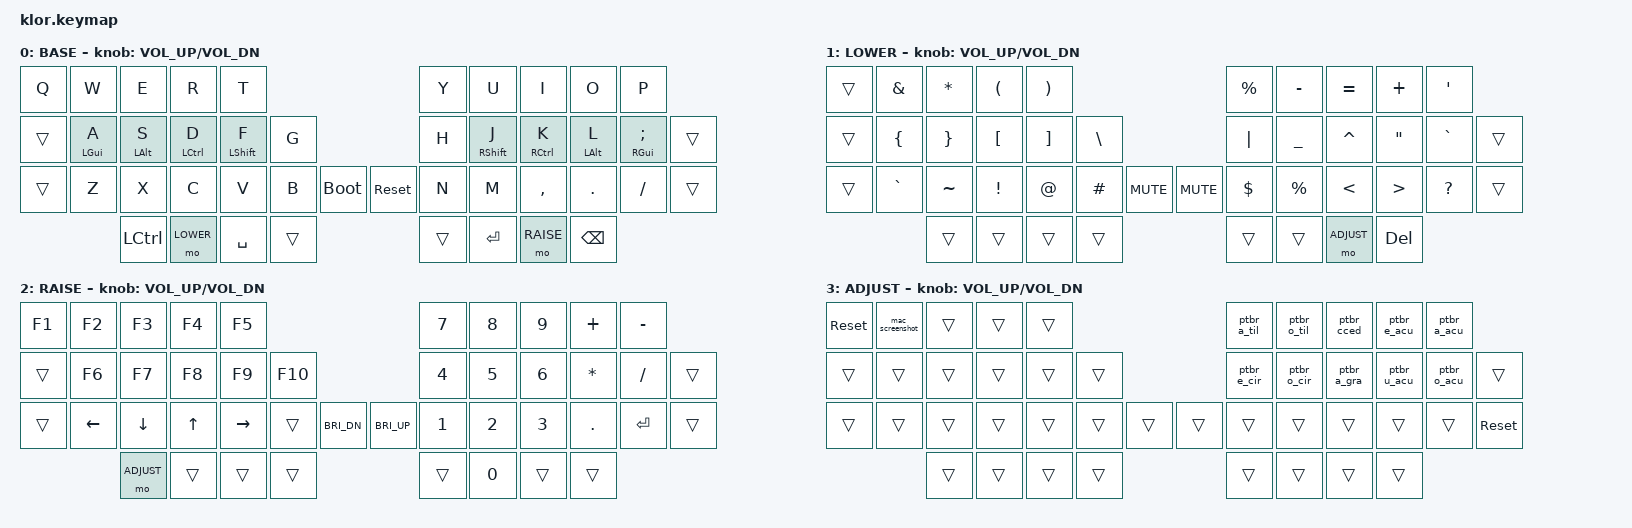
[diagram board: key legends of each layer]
// ██╗  ██╗██╗      ██████╗ ██████╗
// ██║ ██╔╝██║     ██╔═══██╗██╔══██╗
// █████╔╝ ██║     ██║   ██║██████╔╝
// ██╔═██╗ ██║     ██║   ██║██╔══██╗
// ██║  ██╗███████╗╚██████╔╝██║  ██║
// ╚═╝  ╚═╝╚══════╝ ╚═════╝ ╚═╝  ╚═╝
//
// ZMK Keymap — KLOR Saegewerk
// Layout: QWERTY · Mac US · Dev
//
// CAMADAS:
//   BASE   (0) — QWERTY + Homerow Mods (GACS)
//   LOWER  (1) — Símbolos de programação
//   RAISE  (2) — F-Keys + Numpad + Navegação
//   ADJUST (3) — PT-BR (macros) + sys_reset
//
// COMBOS:
//   A + Z        → TAB       (coluna do mindinho esquerdo)
//   LOWER + Q    → ESC       (segura LOWER, toca Q)
//   J + K        → ENTER     (mão direita rápida)
//   K + L        → :         (dois pontos)
//
// BOOTLOADER (reflash sem TRRS):
//   Click do encoder esquerdo  → bootloader metade esquerda
//   Click do encoder direito   → bootloader metade direita
//   Cada metade funciona independentemente!

#include <behaviors.dtsi>
#include <dt-bindings/zmk/keys.h>
#include <dt-bindings/zmk/outputs.h>

#define BASE   0
#define LOWER  1
#define RAISE  2
#define ADJUST 3

/ {

    // ═══════════════════════════════════════════════════════════════
    // MACROS — PT-BR via dead keys macOS US
    // ═══════════════════════════════════════════════════════════════
    macros {

        // ã — Option+N → A
        ptbr_a_til: ptbr_a_til {
            compatible = "zmk,behavior-macro";
            label = "PTBR_A_TIL";
            #binding-cells = <0>;
            bindings = <&macro_press &kp LALT>,
                       <&macro_tap &kp N>,
                       <&macro_release &kp LALT>,
                       <&macro_tap &kp A>;
        };

        // õ — Option+N → O
        ptbr_o_til: ptbr_o_til {
            compatible = "zmk,behavior-macro";
            label = "PTBR_O_TIL";
            #binding-cells = <0>;
            bindings = <&macro_press &kp LALT>,
                       <&macro_tap &kp N>,
                       <&macro_release &kp LALT>,
                       <&macro_tap &kp O>;
        };

        // ç — Option+C
        ptbr_cced: ptbr_cced {
            compatible = "zmk,behavior-macro";
            label = "PTBR_CCED";
            #binding-cells = <0>;
            bindings = <&macro_press &kp LALT>,
                       <&macro_tap &kp C>,
                       <&macro_release &kp LALT>;
        };

        // é — Option+E → E
        ptbr_e_acu: ptbr_e_acu {
            compatible = "zmk,behavior-macro";
            label = "PTBR_E_ACU";
            #binding-cells = <0>;
            bindings = <&macro_press &kp LALT>,
                       <&macro_tap &kp E>,
                       <&macro_release &kp LALT>,
                       <&macro_tap &kp E>;
        };

        // á — Option+E → A
        ptbr_a_acu: ptbr_a_acu {
            compatible = "zmk,behavior-macro";
            label = "PTBR_A_ACU";
            #binding-cells = <0>;
            bindings = <&macro_press &kp LALT>,
                       <&macro_tap &kp E>,
                       <&macro_release &kp LALT>,
                       <&macro_tap &kp A>;
        };

        // ê — Option+I → E
        ptbr_e_cir: ptbr_e_cir {
            compatible = "zmk,behavior-macro";
            label = "PTBR_E_CIR";
            #binding-cells = <0>;
            bindings = <&macro_press &kp LALT>,
                       <&macro_tap &kp I>,
                       <&macro_release &kp LALT>,
                       <&macro_tap &kp E>;
        };

        // ô — Option+I → O
        ptbr_o_cir: ptbr_o_cir {
            compatible = "zmk,behavior-macro";
            label = "PTBR_O_CIR";
            #binding-cells = <0>;
            bindings = <&macro_press &kp LALT>,
                       <&macro_tap &kp I>,
                       <&macro_release &kp LALT>,
                       <&macro_tap &kp O>;
        };

        // à — Option+` → A
        ptbr_a_gra: ptbr_a_gra {
            compatible = "zmk,behavior-macro";
            label = "PTBR_A_GRA";
            #binding-cells = <0>;
            bindings = <&macro_press &kp LALT>,
                       <&macro_tap &kp GRAVE>,
                       <&macro_release &kp LALT>,
                       <&macro_tap &kp A>;
        };

        // ú — Option+E → U
        ptbr_u_acu: ptbr_u_acu {
            compatible = "zmk,behavior-macro";
            label = "PTBR_U_ACU";
            #binding-cells = <0>;
            bindings = <&macro_press &kp LALT>,
                       <&macro_tap &kp E>,
                       <&macro_release &kp LALT>,
                       <&macro_tap &kp U>;
        };

        // ó — Option+E → O
        ptbr_o_acu: ptbr_o_acu {
            compatible = "zmk,behavior-macro";
            label = "PTBR_O_ACU";
            #binding-cells = <0>;
            bindings = <&macro_press &kp LALT>,
                       <&macro_tap &kp E>,
                       <&macro_release &kp LALT>,
                       <&macro_tap &kp O>;
        };

        // Screenshot Mac — CMD + SHIFT + 4
        mac_screenshot: mac_screenshot {
            compatible = "zmk,behavior-macro";
            label = "MAC_SCREENSHOT";
            #binding-cells = <0>;
            bindings = <&macro_press &kp LGUI &kp LSHFT>,
                       <&macro_tap &kp N4>,
                       <&macro_release &kp LGUI &kp LSHFT>;
        };

    };

    // ═══════════════════════════════════════════════════════════════
    // BEHAVIORS
    // ═══════════════════════════════════════════════════════════════
    behaviors {

        hm: homerow_mods {
            compatible = "zmk,behavior-hold-tap";
            label = "HOMEROW_MODS";
            #binding-cells = <2>;
            tapping-term-ms = <200>;
            quick_tap_ms = <175>;
            require-prior-idle-ms = <125>;
            flavor = "tap-preferred";
            bindings = <&kp>, <&kp>;
        };

        // Layer-tap com tapping-term maior — thumb keys são mais lentas
        lt: layer_tap {
            compatible = "zmk,behavior-hold-tap";
            label = "LAYER_TAP";
            #binding-cells = <2>;
            tapping-term-ms = <200>;
            quick_tap_ms = <175>;
            flavor = "tap-preferred";
            bindings = <&mo>, <&kp>;
        };

    };

    // ═══════════════════════════════════════════════════════════════
    // COMBOS
    // ═══════════════════════════════════════════════════════════════
    // Mapa de posições (linha × coluna, contando os &trans das pontas):
    //
    //   Linha 1 (5 teclas, sem pinky):  0  1  2  3  4  |  14 15 16 17 18
    //   Linha 2 (6 teclas com pinky):   5  6  7  8  9 10  | 19 20 21 22 23 24
    //   Linha 3 (6 teclas com pinky):  25 26 27 28 29 30  | 32 33 34 35 36 37
    //   Thumbs (4 cada lado):          38 39 40 41        | 42 43 44 45
    //
    //   Notáveis:
    //     Q=0  W=1  E=2  R=3  T=4
    //     A=6  S=7  D=8  F=9  G=10
    //     Z=26 X=27 C=28 V=29 B=30
    //     J=20 K=21 L=22
    //     LOWER thumb = 39
    // ───────────────────────────────────────────────────────────────
    combos {
        compatible = "zmk,combos";

        // A + Z = TAB (coluna do mindinho, posições 6 e 26)
        combo_tab {
            timeout-ms = <50>;
            key-positions = <11 23>;
            bindings = <&kp TAB>;
        };

        // LOWER (thumb 39) + Q (pos 0) = ESC
        // Segura LOWER e toca Q — natural, sem conflito com LoL
        combo_esc {
            timeout-ms = <50>;
            key-positions = <37 0>;
            bindings = <&kp ESC>;
            layers = <BASE>;
        };

        // J + K = ENTER (posições 20 e 21)
        combo_enter {
            timeout-ms = <50>;
            key-positions = <17 18>;
            bindings = <&kp RET>;
        };

        // K + L = : dois pontos (posições 21 e 22)
        combo_colon {
            timeout-ms = <50>;
            key-positions = <18 19>;
            bindings = <&kp COLON>;
        };

    };

    // ═══════════════════════════════════════════════════════════════
    keymap {
        compatible = "zmk,keymap";
// ═══════════════════════════════════════════════════════════════════


// ───────────────────────────────────────────────────────────────────
// CAMADA 0 — BASE (QWERTY)
// ───────────────────────────────────────────────────────────────────
// Homerow Mods:
//   ESQUERDA: A=CMD  S=OPT  D=CTRL  F=SHIFT
//   DIREITA:  J=SHIFT  K=CTRL  L=OPT  ;=CMD
//
// Encoder click = &bootloader (cada metade reseta ela mesma, sem TRRS!)
//
// Thumb: [CTRL] [LOWER] [SPACE] [▽] || [▽] [ENTER] [RAISE] [BSPC]
//
/*
             ┌─────────┬─────────┬─────────┬─────────┬─────────┐                    ┌─────────┬─────────┬─────────┬─────────┬─────────┐
             │    Q    │    W    │    E    │    R    │    T    │                    │    Y    │    U    │    I    │    O    │    P    │
   ┌─────────┼─────────┼─────────┼─────────┼─────────┼─────────┤                    ├─────────┼─────────┼─────────┼─────────┼─────────┼─────────┐
   │    ▽    │ CMD/A   │ OPT/S   │ CTL/D   │ SFT/F   │    G    │                    │    H    │ SFT/J   │ CTL/K   │ OPT/L   │ CMD/;   │    ▽    │
   ├─────────┼─────────┼─────────┼─────────┼─────────┼─────────┤╭────────╮╭────────╮├─────────┼─────────┼─────────┼─────────┼─────────┼─────────┤
   │    ▽    │    Z    │    X    │    C    │    V    │    B    ││ BOOT!! ││ BOOT!! ││    N    │    M    │    ,    │    .    │    /    │    ▽    │
   └─────────┴─────────┴─────────┼─────────┼─────────┼─────────┼╰────────╯╰────────╯┼─────────┼─────────┼─────────┼─────────┴─────────┴─────────┘
                                 │  CTRL   │  LOWER  │  SPACE  │    ▽    ││    ▽    │  ENTER  │  RAISE  │  BSPC   │
                                 └─────────┴─────────┴─────────┴─────────┘└─────────┴─────────┴─────────┴─────────┘
*/
        BASE {
            label = "BASE";
            bindings = <
   &kp Q       &kp W       &kp E       &kp R       &kp T                                            &kp Y       &kp U       &kp I       &kp O       &kp P
   &trans      &hm LGUI A  &hm LALT S  &hm LCTRL D &hm LSHFT F &kp G                                &kp H       &hm RSHFT J &hm RCTRL K &hm LALT L  &hm RGUI SEMI &trans
   &trans      &kp Z       &kp X       &kp C       &kp V       &kp B       &bootloader  &sys_reset   &kp N       &kp M       &kp COMMA   &kp DOT     &kp FSLH      &trans
                           &kp LCTRL   &mo LOWER   &kp SPACE   &trans                               &trans      &kp RET     &mo RAISE   &kp BSPC
            >;
            sensor-bindings = <&inc_dec_kp C_VOL_UP C_VOL_DN>;
        };


// ───────────────────────────────────────────────────────────────────
// CAMADA 1 — LOWER (Símbolos de programação)
// ───────────────────────────────────────────────────────────────────
// ESQUERDO: ^ & * ( ) / { } [ ] \ / ` ~ ! @ #
// DIREITO:  % - = + ' | _ ; " < > ?
//
/*
             ┌─────────┬─────────┬─────────┬─────────┬─────────┐                    ┌─────────┬─────────┬─────────┬─────────┬─────────┐
             │    ^    │    &    │    *    │    (    │    )    │                    │    %    │    -    │    =    │    +    │    '    │
   ┌─────────┼─────────┼─────────┼─────────┼─────────┼─────────┤                    ├─────────┼─────────┼─────────┼─────────┼─────────┼─────────┐
   │    ▽    │    {    │    }    │    [    │    ]    │    \    │                    │    |    │    _    │    ;    │    "    │    `    │    ▽    │
   ├─────────┼─────────┼─────────┼─────────┼─────────┼─────────┤╭────────╮╭────────╮├─────────┼─────────┼─────────┼─────────┼─────────┼─────────┤
   │    ▽    │    `    │    ~    │    !    │    @    │    #    ││  MUTE  ││  MUTE  ││    $    │    %    │    <    │    >    │    ?    │    ▽    │
   └─────────┴─────────┴─────────┼─────────┼─────────┼─────────┼╰────────╯╰────────╯┼─────────┼─────────┼─────────┼─────────┴─────────┴─────────┘
                                 │    ▽    │(LOWER)  │    ▽    │    ▽    ││    ▽    │    ▽    │  ADJST  │  DEL    │
                                 └─────────┴─────────┴─────────┴─────────┘└─────────┴─────────┴─────────┴─────────┘
*/
        LOWER {
            label = "LOWER";
            bindings = <
   &trans      &kp AMPS    &kp STAR    &kp LPAR    &kp RPAR                                     &kp PRCNT   &kp MINUS   &kp EQUAL   &kp PLUS    &kp SQT
   &trans      &kp LBRC    &kp RBRC    &kp LBKT    &kp RBKT    &kp BSLH                         &kp PIPE    &kp UNDER   &kp CARET   &kp DQT     &kp GRAVE   &trans
   &trans      &kp GRAVE   &kp TILDE   &kp EXCL    &kp AT      &kp HASH    &kp C_MUTE  &kp C_MUTE  &kp DLLR    &kp PRCNT   &kp LT      &kp GT      &kp QMARK   &trans
                           &trans      &trans      &trans      &trans                           &trans      &trans      &mo ADJUST  &kp DEL
            >;
            sensor-bindings = <&inc_dec_kp C_VOL_UP C_VOL_DN>;
        };


// ───────────────────────────────────────────────────────────────────
// CAMADA 2 — RAISE (F-Keys + Numpad + Navegação)
// ───────────────────────────────────────────────────────────────────
// ESQUERDO:
//   Linha 1: F1  F2  F3  F4  F5
//   Linha 2: F6  F7  F8  F9  F10
//   Linha 3: ←   ↓   ↑   →   ▽
//
// DIREITO — Numpad sem duplicatas:
//   Linha 1:  7   8   9   +   −
//   Linha 2:  4   5   6   ×   ÷   ▽
//   Linha 3:  1   2   3   .  ENT  ▽
//   Thumbs:   ▽   0  (RAISE) ▽
//
/*
             ┌─────────┬─────────┬─────────┬─────────┬─────────┐                    ┌─────────┬─────────┬─────────┬─────────┬─────────┐
             │   F1    │   F2    │   F3    │   F4    │   F5    │                    │    7    │    8    │    9    │    +    │    -    │
   ┌─────────┼─────────┼─────────┼─────────┼─────────┼─────────┤                    ├─────────┼─────────┼─────────┼─────────┼─────────┼─────────┐
   │    ▽    │   F6    │   F7    │   F8    │   F9    │   F10   │                    │    4    │    5    │    6    │    ×    │    ÷    │    ▽    │
   ├─────────┼─────────┼─────────┼─────────┼─────────┼─────────┤╭────────╮╭────────╮├─────────┼─────────┼─────────┼─────────┼─────────┼─────────┤
   │    ▽    │    ←    │    ↓    │    ↑    │    →    │    ▽    ││  SCR-  ││  SCR+  ││    1    │    2    │    3    │    .    │  KPENT  │    ▽    │
   └─────────┴─────────┴─────────┼─────────┼─────────┼─────────┼╰────────╯╰────────╯┼─────────┼─────────┼─────────┼─────────┴─────────┴─────────┘
                                 │  ADJST  │    ▽    │    ▽    │    ▽    ││    ▽    │    0    │(RAISE)  │    ▽    │
                                 └─────────┴─────────┴─────────┴─────────┘└─────────┴─────────┴─────────┴─────────┘
*/
        RAISE {
            label = "RAISE";
            bindings = <
   &kp F1      &kp F2      &kp F3      &kp F4      &kp F5                                           &kp N7   &kp N8   &kp N9   &kp PLUS     &kp MINUS
   &trans      &kp F6      &kp F7      &kp F8      &kp F9      &kp F10                              &kp N4   &kp N5   &kp N6   &kp STAR &kp FSLH   &trans
   &trans      &kp LEFT    &kp DOWN    &kp UP      &kp RIGHT   &trans      &kp C_BRI_DN &kp C_BRI_UP &kp N1   &kp N2   &kp N3   &kp DOT      &kp RET    &trans
                           &mo ADJUST  &trans      &trans      &trans                               &trans      &kp N0   &trans      &trans
            >;
            sensor-bindings = <&inc_dec_kp C_VOL_UP C_VOL_DN>;
        };


// ───────────────────────────────────────────────────────────────────
// CAMADA 3 — ADJUST (PT-BR + sys_reset)
// ───────────────────────────────────────────────────────────────────
// Acesso: segura LOWER + RAISE simultaneamente
//
// ESQUERDO: sys_reset (reset de firmware, com TRRS conectado)
// DIREITO:  PT-BR via dead keys macOS US
//
// NOTA: para reflash SEM TRRS use o click do encoder no BASE layer!
//
/*
             ┌─────────┬─────────┬─────────┬─────────┬─────────┐                    ┌─────────┬─────────┬─────────┬─────────┬─────────┐
             │  RESET  │    ▽    │    ▽    │    ▽    │    ▽    │                    │    ã    │    õ    │    ç    │    é    │    á    │
   ┌─────────┼─────────┼─────────┼─────────┼─────────┼─────────┤                    ├─────────┼─────────┼─────────┼─────────┼─────────┼─────────┐
   │    ▽    │    ▽    │    ▽    │    ▽    │    ▽    │    ▽    │                    │    ê    │    ô    │    à    │    ú    │    ▽    │    ▽    │
   ├─────────┼─────────┼─────────┼─────────┼─────────┼─────────┤╭────────╮╭────────╮├─────────┼─────────┼─────────┼─────────┼─────────┼─────────┤
   │    ▽    │    ▽    │    ▽    │    ▽    │    ▽    │    ▽    ││        ││        ││    ▽    │    ▽    │    ▽    │    ▽    │    ▽    │  RESET  │
   └─────────┴─────────┴─────────┼─────────┼─────────┼─────────┼╰────────╯╰────────╯┼─────────┼─────────┼─────────┼─────────┴─────────┴─────────┘
                                 │    ▽    │    ▽    │    ▽    │    ▽    ││    ▽    │    ▽    │    ▽    │    ▽    │
                                 └─────────┴─────────┴─────────┴─────────┘└─────────┴─────────┴─────────┴─────────┘
*/
        ADJUST {
            label = "ADJUST";
            bindings = <
   &sys_reset  &mac_screenshot &trans      &trans      &trans                                       &ptbr_a_til &ptbr_o_til &ptbr_cced  &ptbr_e_acu &ptbr_a_acu
   &trans      &trans      &trans      &trans      &trans      &trans                           &ptbr_e_cir &ptbr_o_cir &ptbr_a_gra &ptbr_u_acu &ptbr_o_acu &trans
   &trans      &trans      &trans      &trans      &trans      &trans      &trans      &trans   &trans      &trans      &trans      &trans      &trans      &sys_reset
                           &trans      &trans      &trans      &trans                           &trans      &trans      &trans      &trans
            >;
            sensor-bindings = <&inc_dec_kp C_VOL_UP C_VOL_DN>;
        };

    };
};
